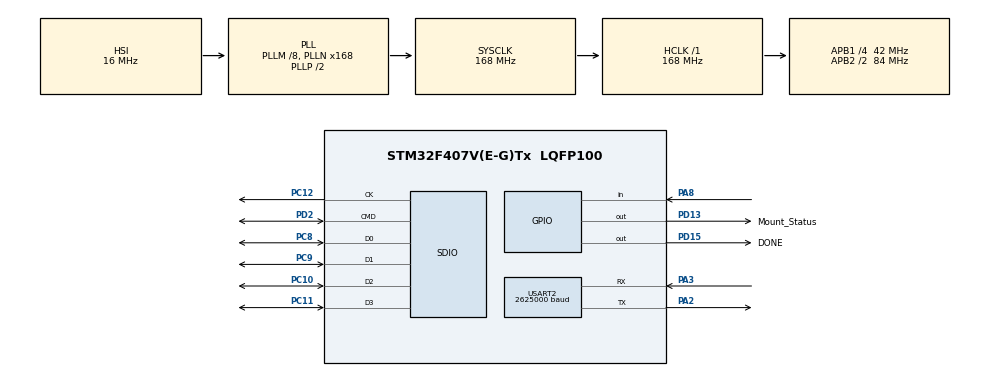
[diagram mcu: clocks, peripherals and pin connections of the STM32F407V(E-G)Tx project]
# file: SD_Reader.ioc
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Dma.Request0=USART2_TX
Dma.USART2_TX.0.Direction=DMA_MEMORY_TO_PERIPH
Dma.USART2_TX.0.FIFOMode=DMA_FIFOMODE_DISABLE
Dma.USART2_TX.0.Instance=DMA1_Stream6
Dma.USART2_TX.0.MemDataAlignment=DMA_MDATAALIGN_BYTE
Dma.USART2_TX.0.MemInc=DMA_MINC_ENABLE
Dma.USART2_TX.0.Mode=DMA_NORMAL
Dma.USART2_TX.0.PeriphDataAlignment=DMA_PDATAALIGN_BYTE
Dma.USART2_TX.0.PeriphInc=DMA_PINC_DISABLE
Dma.USART2_TX.0.Priority=DMA_PRIORITY_MEDIUM
FATFS.BSP.number=1
FATFS0.BSP.STBoard=false
FATFS0.BSP.api=Unknown
FATFS0.BSP.instance=PA8
FATFS0.BSP.ip=GPIO
FATFS0.BSP.mode=Input
FATFS0.BSP.name=Detect_SDIO
FATFS0.BSP.solution=PA8
Mcu.Family=STM32F4
Mcu.Name=STM32F407V(E-G)Tx
Mcu.Package=LQFP100
NVIC.DMA1_Stream6_IRQn=true\:0\:0\:false\:false\:true\:false\:true\:true
NVIC.PriorityGroup=NVIC_PRIORITYGROUP_4
NVIC.USART2_IRQn=true\:0\:0\:false\:false\:true\:true\:true\:true
PA13.Mode=Serial_Wire
PA13.Signal=SYS_JTMS-SWDIO
PA14.Mode=Serial_Wire
PA14.Signal=SYS_JTCK-SWCLK
PA2.Mode=Asynchronous
PA2.Signal=USART2_TX
PA3.Mode=Asynchronous
PA3.Signal=USART2_RX
PA8.GPIO_PuPd=GPIO_NOPULL
PA8.Signal=GPIO_Input
PC10.GPIO_PuPd=GPIO_NOPULL
PC10.Mode=SD_4_bits_Wide_bus
PC10.Signal=SDIO_D2
PC11.GPIO_PuPd=GPIO_PULLUP
PC11.Mode=SD_4_bits_Wide_bus
PC11.Signal=SDIO_D3
PC12.Mode=SD_4_bits_Wide_bus
PC12.Signal=SDIO_CK
PC8.GPIO_PuPd=GPIO_NOPULL
PC8.Mode=SD_4_bits_Wide_bus
PC8.Signal=SDIO_D0
PC9.GPIO_PuPd=GPIO_NOPULL
PC9.Mode=SD_4_bits_Wide_bus
PC9.Signal=SDIO_D1
PD13.GPIO_Label=Mount_Status
PD13.Signal=GPIO_Output
PD15.GPIO_Label=DONE
PD15.Signal=GPIO_Output
PD2.GPIO_PuPd=GPIO_NOPULL
PD2.Mode=SD_4_bits_Wide_bus
PD2.Signal=SDIO_CMD
PH0-OSC_IN.Mode=HSE-External-Oscillator
PH0-OSC_IN.Signal=RCC_OSC_IN
PH1-OSC_OUT.Mode=HSE-External-Oscillator
PH1-OSC_OUT.Signal=RCC_OSC_OUT
ProjectManager.HeapSize=0x2000
ProjectManager.StackSize=0x1000
ProjectManager.TargetToolchain=STM32CubeIDE
RCC.48MHZClocksFreq_Value=48000000
RCC.AHBFreq_Value=168000000
RCC.APB1CLKDivider=RCC_HCLK_DIV4
RCC.APB1Freq_Value=42000000
RCC.APB1TimFreq_Value=84000000
RCC.APB2CLKDivider=RCC_HCLK_DIV2
RCC.APB2Freq_Value=84000000
RCC.APB2TimFreq_Value=168000000
RCC.CortexFreq_Value=168000000
RCC.HCLKFreq_Value=168000000
RCC.HSE_VALUE=8000000
RCC.HSI_VALUE=16000000
RCC.PLLM=8
RCC.PLLN=168
RCC.PLLQ=7
RCC.SYSCLKFreq_VALUE=168000000
RCC.SYSCLKSource=RCC_SYSCLKSOURCE_PLLCLK
RCC.VCOOutputFreq_Value=336000000
USART2.BaudRate=2625000
USART2.VirtualMode=VM_ASYNC
VP_FATFS_VS_SDIO.Mode=SDIO
board=custom

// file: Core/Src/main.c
/* USER CODE BEGIN Header */
/**
  ******************************************************************************
  * @file           : main.c
  * @brief          : Main program body
  ******************************************************************************
  * @attention
  *
  * Copyright (c) 2024 STMicroelectronics.
  * All rights reserved.
  *
  * This software is licensed under terms that can be found in the LICENSE file
  * in the root directory of this software component.
  * If no LICENSE file comes with this software, it is provided AS-IS.
  *
  ******************************************************************************
  */
/* USER CODE END Header */
#include "main.h"
#include "fatfs.h"

/* USER CODE BEGIN Includes */
#include <stdio.h>
#include <string.h>
#include <stdbool.h>
/* USER CODE END Includes */

SD_HandleTypeDef hsd;

UART_HandleTypeDef huart2;
DMA_HandleTypeDef hdma_usart2_tx;

/* USER CODE BEGIN PV */
FATFS fileSystem;
FIL file;
char rxBuffer[1];
uint8_t txBuffer[512];
volatile uint8_t dma_tx_complete = 1;  // Flag to indicate DMA completion

/* USER CODE END PV */

void SystemClock_Config(void);
static void MX_GPIO_Init(void);
static void MX_DMA_Init(void);
static void MX_SDIO_SD_Init(void);
static void MX_USART2_UART_Init(void);
/* USER CODE BEGIN PFP */
void SendChunkOverUART(const char* filename);
bool InitSD();
/* USER CODE END PFP */

int main(void)
{

  /* MCU Configuration--------------------------------------------------------*/

  /* Reset of all peripherals, Initializes the Flash interface and the Systick. */
  HAL_Init();

  /* Configure the system clock */
  SystemClock_Config();

  /* Initialize all configured peripherals */
  MX_GPIO_Init();
  MX_DMA_Init();
  MX_SDIO_SD_Init();
  MX_USART2_UART_Init();
  MX_FATFS_Init();
  /* USER CODE BEGIN 2 */
  HAL_GPIO_WritePin(DONE_GPIO_Port, DONE_Pin, GPIO_PIN_SET);

  if(InitSD() == false) {
	  HAL_GPIO_WritePin(GPIOD, Mount_Status_Pin|DONE_Pin, GPIO_PIN_RESET);
	  Error_Handler();
  }
  HAL_GPIO_WritePin(GPIOD, Mount_Status_Pin|DONE_Pin, GPIO_PIN_SET);

  HAL_UART_Receive_IT(&huart2, (uint8_t *)rxBuffer, 1);
  /* USER CODE END 2 */

  /* Infinite loop */
  while (1)
  {

  }
}

void SystemClock_Config(void)
{
  RCC_OscInitTypeDef RCC_OscInitStruct = {0};
  RCC_ClkInitTypeDef RCC_ClkInitStruct = {0};

  /** Configure the main internal regulator output voltage
  */
  __HAL_RCC_PWR_CLK_ENABLE();
  __HAL_PWR_VOLTAGESCALING_CONFIG(PWR_REGULATOR_VOLTAGE_SCALE1);

  /** Initializes the RCC Oscillators according to the specified parameters
  * in the RCC_OscInitTypeDef structure.
  */
  RCC_OscInitStruct.OscillatorType = RCC_OSCILLATORTYPE_HSI;
  RCC_OscInitStruct.HSIState = RCC_HSI_ON;
  RCC_OscInitStruct.HSICalibrationValue = RCC_HSICALIBRATION_DEFAULT;
  RCC_OscInitStruct.PLL.PLLState = RCC_PLL_ON;
  RCC_OscInitStruct.PLL.PLLSource = RCC_PLLSOURCE_HSI;
  RCC_OscInitStruct.PLL.PLLM = 8;
  RCC_OscInitStruct.PLL.PLLN = 168;
  RCC_OscInitStruct.PLL.PLLP = RCC_PLLP_DIV2;
  RCC_OscInitStruct.PLL.PLLQ = 7;
  if (HAL_RCC_OscConfig(&RCC_OscInitStruct) != HAL_OK)
  {
    Error_Handler();
  }

  /** Initializes the CPU, AHB and APB buses clocks
  */
  RCC_ClkInitStruct.ClockType = RCC_CLOCKTYPE_HCLK|RCC_CLOCKTYPE_SYSCLK
                              |RCC_CLOCKTYPE_PCLK1|RCC_CLOCKTYPE_PCLK2;
  RCC_ClkInitStruct.SYSCLKSource = RCC_SYSCLKSOURCE_PLLCLK;
  RCC_ClkInitStruct.AHBCLKDivider = RCC_SYSCLK_DIV1;
  RCC_ClkInitStruct.APB1CLKDivider = RCC_HCLK_DIV4;
  RCC_ClkInitStruct.APB2CLKDivider = RCC_HCLK_DIV2;

  if (HAL_RCC_ClockConfig(&RCC_ClkInitStruct, FLASH_LATENCY_5) != HAL_OK)
  {
    Error_Handler();
  }
}

static void MX_SDIO_SD_Init(void)
{

  hsd.Instance = SDIO;
  hsd.Init.ClockEdge = SDIO_CLOCK_EDGE_RISING;
  hsd.Init.ClockBypass = SDIO_CLOCK_BYPASS_DISABLE;
  hsd.Init.ClockPowerSave = SDIO_CLOCK_POWER_SAVE_DISABLE;
  hsd.Init.BusWide = SDIO_BUS_WIDE_4B;
  hsd.Init.HardwareFlowControl = SDIO_HARDWARE_FLOW_CONTROL_DISABLE;
  hsd.Init.ClockDiv = 0;

}

static void MX_USART2_UART_Init(void)
{

  huart2.Instance = USART2;
  huart2.Init.BaudRate = 2625000;
  huart2.Init.WordLength = UART_WORDLENGTH_8B;
  huart2.Init.StopBits = UART_STOPBITS_1;
  huart2.Init.Parity = UART_PARITY_NONE;
  huart2.Init.Mode = UART_MODE_TX_RX;
  huart2.Init.HwFlowCtl = UART_HWCONTROL_NONE;
  huart2.Init.OverSampling = UART_OVERSAMPLING_16;
  if (HAL_UART_Init(&huart2) != HAL_OK)
  {
    Error_Handler();
  }

}

static void MX_DMA_Init(void)
{

  /* DMA controller clock enable */
  __HAL_RCC_DMA1_CLK_ENABLE();

  /* DMA interrupt init */
  /* DMA1_Stream6_IRQn interrupt configuration */
  HAL_NVIC_SetPriority(DMA1_Stream6_IRQn, 0, 0);
  HAL_NVIC_EnableIRQ(DMA1_Stream6_IRQn);

}

static void MX_GPIO_Init(void)
{
  GPIO_InitTypeDef GPIO_InitStruct = {0};

  /* GPIO Ports Clock Enable */
  __HAL_RCC_GPIOH_CLK_ENABLE();
  __HAL_RCC_GPIOA_CLK_ENABLE();
  __HAL_RCC_GPIOD_CLK_ENABLE();
  __HAL_RCC_GPIOC_CLK_ENABLE();

  /*Configure GPIO pin Output Level */
  HAL_GPIO_WritePin(GPIOD, Mount_Status_Pin|DONE_Pin, GPIO_PIN_RESET);

  /*Configure GPIO pins : Mount_Status_Pin DONE_Pin */
  GPIO_InitStruct.Pin = Mount_Status_Pin|DONE_Pin;
  GPIO_InitStruct.Mode = GPIO_MODE_OUTPUT_PP;
  GPIO_InitStruct.Pull = GPIO_NOPULL;
  GPIO_InitStruct.Speed = GPIO_SPEED_FREQ_LOW;
  HAL_GPIO_Init(GPIOD, &GPIO_InitStruct);

  /*Configure GPIO pin : PA8 */
  GPIO_InitStruct.Pin = GPIO_PIN_8;
  GPIO_InitStruct.Mode = GPIO_MODE_INPUT;
  GPIO_InitStruct.Pull = GPIO_NOPULL;
  HAL_GPIO_Init(GPIOA, &GPIO_InitStruct);

}

/* USER CODE BEGIN 4 */
void HAL_UART_Rx_Callback(UART_HandleTypeDef *huart) {
	if(huart->Instance == USART2) {
		char command = rxBuffer[0];

		switch (command) {
			case 'M':
				SendChunkOverUART("Missle.WAV");
				break;
			case 'C':
				SendChunkOverUART("Cannon.WAV");
				break;
			case 'N':
				SendChunkOverUART("N2.WAV");
				break;
			default:
				break;
		}
        HAL_UART_Receive_IT(&huart2, (uint8_t *)rxBuffer, 1);
	}
}

void SendChunkOverUART(const char *filename) {
    FRESULT res;
    UINT bytesRead;

    // Open the file
    res = f_open(&file, filename, FA_READ);
    if (res != FR_OK) {
        const char *errorMsg = "Error opening file\r\n";
        HAL_UART_Transmit(&huart2, (uint8_t *)errorMsg, strlen(errorMsg), HAL_MAX_DELAY);
        return;
    }

    // Read the file in chunks and send over UART using DMA
    do {
        res = f_read(&file, txBuffer, sizeof(txBuffer), &bytesRead);
        if (res == FR_OK && bytesRead > 0) {
            // Wait until the previous DMA transmission completes
            while (!dma_tx_complete);

            // Clear the DMA completion flag
            dma_tx_complete = 0;

            // Start the UART DMA transmission
            HAL_UART_Transmit_DMA(&huart2, txBuffer, bytesRead);
        } else if (res != FR_OK) {
        	printf("Failed reading file\n");
        	break;
        }
    } while (bytesRead > 0);

    // Close the file
    f_close(&file);

    // Wait for the last DMA transmission to complete
    while (!dma_tx_complete);
}

void HAL_UART_TxCpltCallback(UART_HandleTypeDef *huart) {
    if (huart->Instance == USART2) {
        dma_tx_complete = 1;  // Set DMA transmission complete flag
    }
}

bool InitSD() {
	if (HAL_SD_Init(&hsd) != HAL_OK) {
		Error_Handler();
		return false;
	}
	HAL_Delay(100);
	if(HAL_GPIO_ReadPin(GPIOA, GPIO_PIN_8) == GPIO_PIN_RESET){
		printf("PA8 reset");
	}else{
		printf("PA8 SET");
	}
    if (HAL_GPIO_ReadPin(GPIOC, GPIO_PIN_11) == GPIO_PIN_RESET) {
        printf("No SD card detected\r\n");
        return false;  // Exit if no card is detected
    }
    FRESULT res  = f_mount(&fileSystem, " ", 1);
	if (res != FR_OK) {
		switch (res) {
			case FR_NO_FILESYSTEM:
				printf("no filesystem found");
				break;
			case FR_DISK_ERR:
				printf("disk error");
				break;
			case FR_NOT_READY:
				printf("Not ready");
				break;
			default:
				printf("Unknown error");
				break;
		}
		return false;

	}
	printf("SD card mounted successfully");
	return true;
}
/* USER CODE END 4 */

void Error_Handler(void)
{
  __disable_irq();
  while (1)
  {
  }
}
